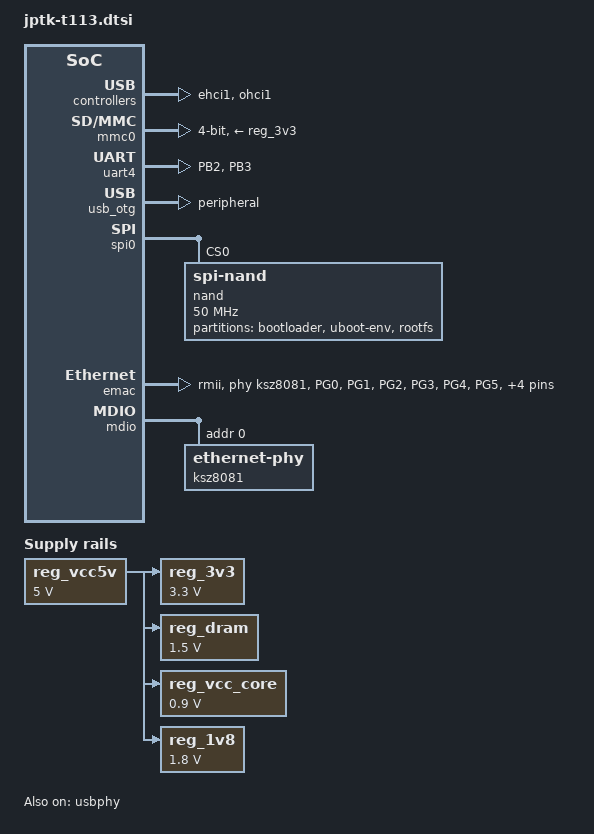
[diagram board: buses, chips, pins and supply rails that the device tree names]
// SPDX-License-Identifier: (GPL-2.0+ OR MIT)
// Copyright (C) 2022 Arm Ltd.
/*
 * Common peripherals and configurations for JPTK T113 boards.
 */

#include <dt-bindings/gpio/gpio.h>
#include <dt-bindings/leds/common.h>

/ {
	aliases {
		serial4 = &uart4;
	};

	chosen {
		stdout-path = "serial4:115200n8";
	};

	/* board wide 5V supply directly from the USB-C socket */
	reg_vcc5v: regulator-5v {
		compatible = "regulator-fixed";
		regulator-name = "vcc-5v";
		regulator-min-microvolt = <5000000>;
		regulator-max-microvolt = <5000000>;
		regulator-always-on;
	};

	/* RY1303 3v3 rail */
	reg_3v3: regulator-3v3 {
		compatible = "regulator-fixed";
		regulator-name = "vcc-3v3";
		regulator-min-microvolt = <3300000>;
		regulator-max-microvolt = <3300000>;
		vin-supply = <&reg_vcc5v>;
	};

	/* RY1303 1v5 rail */
	reg_dram: regulator-dram {
		compatible = "regulator-fixed";
		regulator-name = "vcc-dram";
		regulator-min-microvolt = <1500000>;
		regulator-max-microvolt = <1500000>;
		vin-supply = <&reg_vcc5v>;
	};

	/* RY1303 0v9 rail */
	reg_vcc_core: regulator-core {
		compatible = "regulator-fixed";
		regulator-name = "vcc-core";
		regulator-min-microvolt = <900000>;
		regulator-max-microvolt = <900000>;
		vin-supply = <&reg_vcc5v>;
	};

	/* TPS6220 1v8 rail */
	reg_1v8: regulator-core {
		compatible = "regulator-fixed";
		regulator-name = "vcc-1v8";
		regulator-min-microvolt = <1800000>;
		regulator-max-microvolt = <1800000>;
		vin-supply = <&reg_vcc5v>;
	};
};

&dcxo {
	clock-frequency = <24000000>;
};

&ehci1 {
	status = "okay";
};

&mmc0 {
	pinctrl-0 = <&mmc0_pins>;
	pinctrl-names = "default";
	vmmc-supply = <&reg_3v3>;
	disable-wp;
	broken-cd;
	bus-width = <4>;
	status = "okay";
};

&ohci1 {
	status = "okay";
};

&pio {
	vcc-pb-supply = <&reg_3v3>;
	vcc-pd-supply = <&reg_3v3>;
	vcc-pf-supply = <&reg_3v3>;
	vcc-pg-supply = <&reg_3v3>;
	
	/omit-if-no-ref/
	uart4_pb_pins: uart4-pb-pins {
		pins = "PB2", "PB3";
		function = "uart4";
	};

	rmii_pg_pins: rmii-pg-pins {
		pins = "PG0", "PG1", "PG2", "PG3", "PG4",
		       "PG5", "PG12", "PG13", "PG14", "PG15";
		function = "emac_pg";
	};
};

&uart4 {
	pinctrl-names = "default";
	pinctrl-0 = <&uart4_pb_pins>;
	status = "okay";
};

&usb_otg {
	dr_mode = "peripheral";
	status = "okay";
};

&usbphy {
	usb1_vbus-supply = <&reg_vcc5v>;
	status = "okay";
};

&spi0 {
    pinctrl-names = "default";
    pinctrl-0 = <&spi0_pins>;
    status = "okay";

    nand@0 {
        compatible = "spi-nand";

        reg = <0>;
        spi-max-frequency = <50000000>;

        spi-rx-bus-width = <1>;
        spi-tx-bus-width = <1>;

        partitions {
            compatible = "fixed-partitions";
            #address-cells = <1>;
            #size-cells = <1>;

            bootloader@0 {
                label = "bootloader";
                reg = <0x00000000 0x00200000>; /* 2 MiB */
                read-only;
            };

            env@200000 {
                label = "uboot-env";
                reg = <0x00200000 0x00080000>; /* 512 KiB */
            };

            rootfs@280000 {
                label = "rootfs";
                reg = <0x00280000 0x07d80000>; /* rest of device */
            };
        };
    };
};

&emac {
	pinctrl-names = "default";
	pinctrl-0 = <&rmii_pg_pins>;
	status = "okay";
	phy-mode = "rmii";
	phy-handle = <&ksz8081>;

	local-mac-address = [ 02 12 34 56 78 9a ];
};

&mdio {
	ksz8081: ethernet-phy@0 {
		reg = <0>; // Connected to PG0. KSZ8081 has internal pull-down, so this is 0.
	};
};
